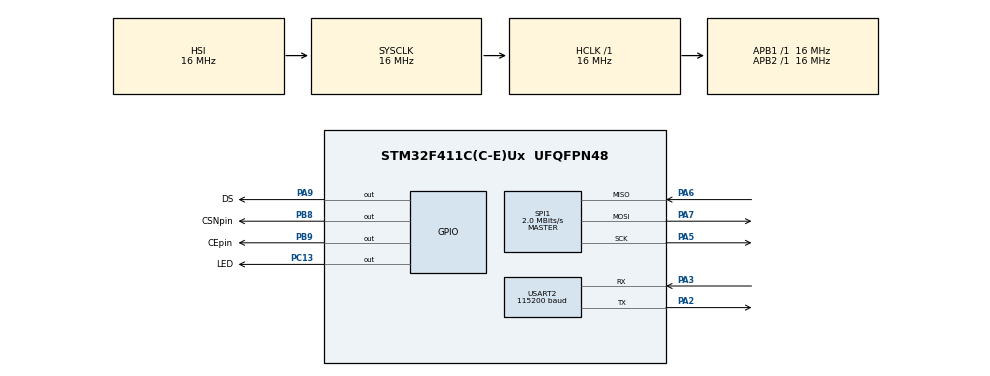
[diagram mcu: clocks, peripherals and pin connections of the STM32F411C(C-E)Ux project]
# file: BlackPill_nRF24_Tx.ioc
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Mcu.Family=STM32F4
Mcu.Name=STM32F411C(C-E)Ux
Mcu.Package=UFQFPN48
NVIC.PriorityGroup=NVIC_PRIORITYGROUP_4
NVIC.RTC_WKUP_IRQn=true\:0\:0\:false\:false\:true\:true\:true
PA2.Mode=Asynchronous
PA2.Signal=USART2_TX
PA3.Mode=Asynchronous
PA3.Signal=USART2_RX
PA5.Mode=Full_Duplex_Master
PA5.Signal=SPI1_SCK
PA6.Mode=Full_Duplex_Master
PA6.Signal=SPI1_MISO
PA7.Mode=Full_Duplex_Master
PA7.Signal=SPI1_MOSI
PA9.GPIO_Label=DS
PA9.GPIO_ModeDefaultOutputPP=GPIO_MODE_OUTPUT_OD
PA9.GPIO_PuPd=GPIO_PULLUP
PA9.PinState=GPIO_PIN_SET
PA9.Signal=GPIO_Output
PB8.GPIO_Label=CSNpin
PB8.Signal=GPIO_Output
PB9.GPIO_Label=CEpin
PB9.Signal=GPIO_Output
PC13-ANTI_TAMP.GPIO_Label=LED
PC13-ANTI_TAMP.Signal=GPIO_Output
ProjectManager.HeapSize=0x200
ProjectManager.StackSize=0x400
ProjectManager.TargetToolchain=STM32CubeIDE
RCC.AHBFreq_Value=16000000
RCC.APB1Freq_Value=16000000
RCC.APB1TimFreq_Value=16000000
RCC.APB2Freq_Value=16000000
RCC.APB2TimFreq_Value=16000000
RCC.CortexFreq_Value=16000000
RCC.HCLKFreq_Value=16000000
RCC.HSE_VALUE=25000000
RCC.HSI_VALUE=16000000
RCC.LSE_VALUE=32768
RCC.SYSCLKFreq_VALUE=16000000
RCC.VCOOutputFreq_Value=192000000
RTC.WakeUpClock=RTC_WAKEUPCLOCK_CK_SPRE_16BITS
RTC.WakeUpCounter=9
SPI1.BaudRatePrescaler=SPI_BAUDRATEPRESCALER_8
SPI1.CalculateBaudRate=2.0 MBits/s
SPI1.Direction=SPI_DIRECTION_2LINES
SPI1.Mode=SPI_MODE_MASTER
SPI1.VirtualType=VM_MASTER
TIM3.Prescaler=15
USART2.BaudRate=115200
USART2.VirtualMode=VM_ASYNC
VP_RTC_VS_RTC_Activate.Mode=RTC_Enabled
VP_RTC_VS_RTC_WakeUp_intern.Mode=WakeUp
VP_TIM3_VS_ClockSourceINT.Mode=Internal
board=custom

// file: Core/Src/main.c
/* USER CODE BEGIN Header */
/**
  ******************************************************************************
  * @file           : main.c
  * @brief          : Main program body
  ******************************************************************************
  * @attention
  *
  * <h2><center>&copy; Copyright (c) 2022 STMicroelectronics.
  * All rights reserved.</center></h2>
  *
  * This software component is licensed by ST under BSD 3-Clause license,
  * the "License"; You may not use this file except in compliance with the
  * License. You may obtain a copy of the License at:
  *                        opensource.org/licenses/BSD-3-Clause
  *
  ******************************************************************************
  */
/* USER CODE END Header */
#include "main.h"

/* USER CODE BEGIN Includes */
#include <stdio.h>

#include "NRF24.h"
/* USER CODE END Includes */

/* USER CODE BEGIN PD */
#define US_CLOCK_DELAY (1)
/* USER CODE END PD */

RTC_HandleTypeDef hrtc;

SPI_HandleTypeDef hspi1;

TIM_HandleTypeDef htim3;

UART_HandleTypeDef huart2;

void SystemClock_Config(void);
static void MX_GPIO_Init(void);
static void MX_SPI1_Init(void);
static void MX_USART2_UART_Init(void);
static void MX_TIM3_Init(void);
static void MX_RTC_Init(void);

/* USER CODE BEGIN 0 */
int __io_putchar(int ch)
{
  if (ch == '\n') {
    __io_putchar('\r');
  }
  HAL_UART_Transmit(&huart2, (uint8_t*)&ch, 1, HAL_MAX_DELAY);
  return 1;
}

void HAL_Delay(uint32_t Delay)
{
  uint32_t tickstart = HAL_GetTick();
  uint32_t wait = Delay;

  /* Add a period to guaranty minimum wait */
  if (wait < HAL_MAX_DELAY)
  {
    wait += (uint32_t)uwTickFreq;
  }

  while ((HAL_GetTick() - tickstart) < wait)
  {
	  __WFI();
  }
}

void blink_hello()
{
	// a few fast blinks to say hello
	for (int i = 0; i < 6; i++) {
		HAL_GPIO_TogglePin(LED_GPIO_Port, LED_Pin);
		HAL_Delay(50);
	}
	// be sure to turn off the LED
	HAL_GPIO_WritePin(LED_GPIO_Port, LED_Pin, GPIO_PIN_SET);
}

#define DS18B20_ROM_CODE_SIZE		8
#define DS18B20_SCRATCHPAD_SIZE    9
#define DS18B20_READ_ROM           0x33
#define DS18B20_MATCH_ROM          0x55
#define DS18B20_SKIP_ROM           0xCC
#define DS18B20_CONVERT_T          0x44
#define DS18B20_READ_SCRATCHPAD    0xBE
#define DS18B20_INVALID_TEMP       0x0550

typedef struct {
	int16_t temp;
	uint8_t address[DS18B20_ROM_CODE_SIZE];
} DS18B20Data_t;

void nrf24_setup_radio(size_t payloadSize)
{
	// --- NRF24 code
	const uint64_t txPipeAddress = 0x2109BC1971;

	// transmit with ACK
	NRF24_begin(CSNpin_GPIO_Port, CSNpin_Pin, CEpin_Pin, hspi1);
	nrf24_DebugUART_Init(huart2);
	NRF24_stopListening();
	NRF24_openWritingPipe(txPipeAddress);
	NRF24_setAutoAck(true);
	NRF24_setChannel(52);
	// NRF24_setPayloadSize(sizeof(ExchangeData_t));
	NRF24_setPayloadSize(payloadSize);
	printRadioSettings();
	printf("Tx ready\n");
}

// NOTE:
// Code to work with 1-wire and DS18B20 was taken from an excellent Forbot course on STM32L4:
//     https://forbot.pl/blog/kurs-stm32l4-termometry-ds18b20-1-wire-uart-id47771

#if US_CLOCK_DELAY
void delay_us(uint32_t us)
{
  // TODO: assert: 'us' must be smaller than 2^16, this is max counter period for 16-bit timers
  __HAL_TIM_SET_COUNTER(&htim3, 0);
  while ((__HAL_TIM_GET_COUNTER(&htim3)) < us) {  }
}
#else
static void set_baudrate(uint32_t baudrate)
{
  huart1.Instance = USART1;
  huart1.Init.BaudRate = baudrate;
  huart1.Init.WordLength = UART_WORDLENGTH_8B;
  huart1.Init.StopBits = UART_STOPBITS_1;
  huart1.Init.Parity = UART_PARITY_NONE;
  huart1.Init.Mode = UART_MODE_TX_RX;
  huart1.Init.HwFlowCtl = UART_HWCONTROL_NONE;
  huart1.Init.OverSampling = UART_OVERSAMPLING_16;
  if (HAL_UART_Init(&huart1) != HAL_OK)
  {
    Error_Handler();
  }
}
#endif

HAL_StatusTypeDef wire_reset(void)
{
#if US_CLOCK_DELAY
	  int rc;

	  HAL_GPIO_WritePin(DS_GPIO_Port, DS_Pin, GPIO_PIN_RESET);
	  delay_us(480);
	  HAL_GPIO_WritePin(DS_GPIO_Port, DS_Pin, GPIO_PIN_SET);
	  delay_us(70);
	  rc = HAL_GPIO_ReadPin(DS_GPIO_Port, DS_Pin);
	  delay_us(410);

	  if (rc == 0)
	    return HAL_OK;
	  else
	    return HAL_ERROR;
#else
  uint8_t data_out = 0xF0;
  uint8_t data_in = 0;

  set_baudrate(9600);
  HAL_UART_Transmit(&huart1, &data_out, 1, HAL_MAX_DELAY);
  HAL_UART_Receive(&huart1, &data_in, 1, HAL_MAX_DELAY);
  set_baudrate(115200);

  if (data_in != 0xF0)
    return HAL_OK;
  else
    return HAL_ERROR;
#endif
}

static void write_bit(int value)
{
#if US_CLOCK_DELAY
	  if (value) {
	    HAL_GPIO_WritePin(DS_GPIO_Port, DS_Pin, GPIO_PIN_RESET);
	    delay_us(6);
	    HAL_GPIO_WritePin(DS_GPIO_Port, DS_Pin, GPIO_PIN_SET);
	    delay_us(64);
	  } else {
	    HAL_GPIO_WritePin(DS_GPIO_Port, DS_Pin, GPIO_PIN_RESET);
	    delay_us(60);
	    HAL_GPIO_WritePin(DS_GPIO_Port, DS_Pin, GPIO_PIN_SET);
	    delay_us(10);
	  }
#else
  if (value) {
      uint8_t data_out = 0xff;
    HAL_UART_Transmit(&huart1, &data_out, 1, HAL_MAX_DELAY);
  } else {
      uint8_t data_out = 0x0;
    HAL_UART_Transmit(&huart1, &data_out, 1, HAL_MAX_DELAY);
  }
#endif
}

static int read_bit(void)
{
#if US_CLOCK_DELAY
	  int rc;
	  HAL_GPIO_WritePin(DS_GPIO_Port, DS_Pin, GPIO_PIN_RESET);
	  delay_us(6);
	  HAL_GPIO_WritePin(DS_GPIO_Port, DS_Pin, GPIO_PIN_SET);
	  delay_us(9);
	  rc = HAL_GPIO_ReadPin(DS_GPIO_Port, DS_Pin);
	  delay_us(55);
	  return rc;
#else
  uint8_t data_out = 0xFF;
  uint8_t data_in = 0;
  HAL_UART_Transmit(&huart1, &data_out, 1, HAL_MAX_DELAY);
  HAL_UART_Receive(&huart1, &data_in, 1, HAL_MAX_DELAY);
  return data_in & 0x01;
#endif
}

HAL_StatusTypeDef wire_init(void)
{
#if US_CLOCK_DELAY
  return HAL_TIM_Base_Start(&htim3);
#endif
}

uint8_t wire_read(void)
{
  uint8_t value = 0;
  int i;
  for (i = 0; i < 8; i++) {
    value >>= 1;
    if (read_bit())
      value |= 0x80;
  }
  return value;
}

void wire_read_buf(uint8_t * buf, int len)
{
    for (int i = 0; i < len; i++) {
      buf[i] = wire_read();
    }
}

void wire_write(uint8_t byte)
{
  int i;
  for (i = 0; i < 8; i++) {
    write_bit(byte & 0x01);
    byte >>= 1;
  }
}

static uint8_t byte_crc(uint8_t crc, uint8_t byte)
{
  int i;
  for (i = 0; i < 8; i++) {
    uint8_t b = crc ^ byte;
    crc >>= 1;
    if (b & 0x01)
      crc ^= 0x8c;
    byte >>= 1;
  }
  return crc;
}

uint8_t wire_crc(const uint8_t* data, int len)
{
  int i;
    uint8_t crc = 0;

    for (i = 0; i < len; i++)
      crc = byte_crc(crc, data[i]);

    return crc;
}

HAL_StatusTypeDef ds18b20_init(void)
{
  return wire_init();
}

HAL_StatusTypeDef ds18b20_read_address(uint8_t* rom_code)
{
  int i;
  uint8_t crc;

  if (wire_reset() != HAL_OK)
    return HAL_ERROR;

  wire_write(DS18B20_READ_ROM);

  for (i = 0; i < DS18B20_ROM_CODE_SIZE; i++)
    rom_code[i] = wire_read();

  crc = wire_crc(rom_code, DS18B20_ROM_CODE_SIZE - 1);
  if (rom_code[DS18B20_ROM_CODE_SIZE - 1] == crc)
    return HAL_OK;
  else
    return HAL_ERROR;
}

static HAL_StatusTypeDef send_cmd(const uint8_t* rom_code, uint8_t cmd)
{
  int i;

  if (wire_reset() != HAL_OK)
    return HAL_ERROR;

  if (!rom_code) {
    wire_write(DS18B20_SKIP_ROM);
  } else {
    wire_write(DS18B20_MATCH_ROM);
    for (i = 0; i < DS18B20_ROM_CODE_SIZE; i++)
      wire_write(rom_code[i]);
  }
  wire_write(cmd);
  return HAL_OK;
}

HAL_StatusTypeDef ds18b20_start_measure(const uint8_t* rom_code)
{
  return send_cmd(rom_code, DS18B20_CONVERT_T);
}

static HAL_StatusTypeDef ds18b20_read_scratchpad(const uint8_t* rom_code, uint8_t* scratchpad)
{
  int i;
  uint8_t crc;

  if (send_cmd(rom_code, DS18B20_READ_SCRATCHPAD) != HAL_OK)
    return HAL_ERROR;

  for (i = 0; i < DS18B20_SCRATCHPAD_SIZE; i++)
    scratchpad[i] = wire_read();

  crc = wire_crc(scratchpad, DS18B20_SCRATCHPAD_SIZE - 1);
  if (scratchpad[DS18B20_SCRATCHPAD_SIZE - 1] == crc)
    return HAL_OK;
  else
    return HAL_ERROR;
}

int16_t ds18b20_get_raw_temp(const uint8_t* rom_code)
{
  uint8_t scratchpad[DS18B20_SCRATCHPAD_SIZE];
  int16_t temp = DS18B20_INVALID_TEMP;
  if (ds18b20_read_scratchpad(rom_code, scratchpad) != HAL_OK)
    return temp;
  memcpy(&temp, &scratchpad[0], sizeof(temp));
  return temp;
}

void ds18b20_get_raw_temp_data(const uint8_t* addr, DS18B20Data_t * pData)
{
	if (pData) {
	  pData->temp = ds18b20_get_raw_temp(addr);
	  memcpy(&pData->address[0], &addr[0], DS18B20_ROM_CODE_SIZE);
	}
}

float ds18b20_get_temp(const uint8_t* rom_code)
{
    return ds18b20_get_raw_temp(rom_code) / 16.0f;
}

void measure_temp(DS18B20Data_t * pData1, DS18B20Data_t * pData2)
{
#if 0
	// get address of DS18B20
	if (ds18b20_init() != HAL_OK) {
		Error_Handler();
	}
	uint8_t ds1[DS18B20_ROM_CODE_SIZE];
	if (ds18b20_read_address(ds1) != HAL_OK) {
		Error_Handler();
	}
#endif

	if (ds18b20_init() != HAL_OK) {
		Error_Handler();
	}

	// R106D26:
	// const uint8_t ds1[] = { 0x28, 0xFF, 0xF2, 0xB5, 0x50, 0x16, 0x03, 0xA2 };
	// const uint8_t ds2[] = { 0x28, 0x21, 0x20, 0xD6, 0x07, 0x00, 0x00, 0x15 };
	// G3059:
	const uint8_t ds1[] = { 0x28, 0xFF, 0x87, 0xAF, 0x36, 0x16, 0x04, 0xC9 };
	const uint8_t ds2[] = { 0x28, 0xC4, 0x8C, 0xE9, 0x07, 0x00, 0x00, 0x17 };

	// TODO: dynamically detect DS sensors and their addresses
	// See: https://www.maximintegrated.com/en/design/technical-documents/app-notes/1/187.html

	ds18b20_start_measure(ds1);
	ds18b20_start_measure(ds2);
	HAL_Delay(750);

	if (pData1 != 0) {
		ds18b20_get_raw_temp_data(ds1, pData1);
		if (pData1->temp == DS18B20_INVALID_TEMP) {
			printf("Sensor error (1)...\n");
		} else {
			printf("T1 = %.1f*C\n", (pData1->temp / 16.0f));
		}
	}

	if (pData2 != 0) {
		ds18b20_get_raw_temp_data(ds2, pData2);
		if (pData2->temp == DS18B20_INVALID_TEMP) {
			printf("Sensor error (2)...\n");
		} else {
			printf("T2 = %.1f*C\n", (pData2->temp / 16.0f));
		}
	}
} // measure_temp()

void transmit_results(DS18B20Data_t * pData1, DS18B20Data_t * pData2)
{
	if (pData1 != 0 && NRF24_write(pData1, sizeof(DS18B20Data_t))) {
		printf("Tx 1 success\n");
	}

	// nRF24 needs time to process the first Rx before the second one can be reliably received, esp. with ACK enabled
	// add delay between Tx's, e.g. 50ms or 100ms, otherwise the second packet gets lost or Rx side sees garbage
	HAL_Delay(100);

	if (pData2 != 0 && NRF24_write(pData2, sizeof(DS18B20Data_t))) {
		printf("Tx 2 success\n");
	}
} // transmit_results()

void measure_and_transmit()
{
	DS18B20Data_t data1 = { .temp = DS18B20_INVALID_TEMP };
	DS18B20Data_t data2 = { .temp = DS18B20_INVALID_TEMP };

	nrf24_setup_radio(sizeof(DS18B20Data_t));
	measure_temp(& data1, & data2);
	transmit_results(& data1, & data2);
	NRF24_powerDown();

	// HAL_GPIO_TogglePin(LED_GPIO_Port, LED_Pin);
	HAL_GPIO_WritePin(LED_GPIO_Port, LED_Pin, GPIO_PIN_RESET);
	HAL_Delay(1);
	// HAL_GPIO_TogglePin(LED_GPIO_Port, LED_Pin);
	HAL_GPIO_WritePin(LED_GPIO_Port, LED_Pin, GPIO_PIN_SET);
	//HAL_Delay(50);
} // measure_and_transmit()

void enter_standby()
{
	// Enter the Standby mode
	__HAL_PWR_CLEAR_FLAG(PWR_FLAG_WU);
	__HAL_RTC_WAKEUPTIMER_CLEAR_FLAG(&hrtc, RTC_FLAG_WUTF);
	HAL_PWR_EnterSTANDBYMode();
	// not reached
}

/* USER CODE END 0 */

int main(void)
{

  /* MCU Configuration--------------------------------------------------------*/

  /* Reset of all peripherals, Initializes the Flash interface and the Systick. */
  HAL_Init();

  /* Configure the system clock */
  SystemClock_Config();

  /* Initialize all configured peripherals */
  MX_GPIO_Init();
  MX_SPI1_Init();
  MX_USART2_UART_Init();
  MX_TIM3_Init();
  MX_RTC_Init();
  /* USER CODE BEGIN 2 */

  // skip initial blink - save energy
  // blink_hello();
  HAL_GPIO_WritePin(LED_GPIO_Port, LED_Pin, GPIO_PIN_SET);
  measure_and_transmit();
  enter_standby();
  // not reached

  /* USER CODE END 2 */

  /* Infinite loop */
  while (1)
  {

  }
}

void SystemClock_Config(void)
{
  RCC_OscInitTypeDef RCC_OscInitStruct = {0};
  RCC_ClkInitTypeDef RCC_ClkInitStruct = {0};
  RCC_PeriphCLKInitTypeDef PeriphClkInitStruct = {0};

  /** Configure the main internal regulator output voltage
  */
  __HAL_RCC_PWR_CLK_ENABLE();
  __HAL_PWR_VOLTAGESCALING_CONFIG(PWR_REGULATOR_VOLTAGE_SCALE1);
  /** Initializes the RCC Oscillators according to the specified parameters
  * in the RCC_OscInitTypeDef structure.
  */
  RCC_OscInitStruct.OscillatorType = RCC_OSCILLATORTYPE_HSI|RCC_OSCILLATORTYPE_LSI;
  RCC_OscInitStruct.HSIState = RCC_HSI_ON;
  RCC_OscInitStruct.HSICalibrationValue = RCC_HSICALIBRATION_DEFAULT;
  RCC_OscInitStruct.LSIState = RCC_LSI_ON;
  RCC_OscInitStruct.PLL.PLLState = RCC_PLL_NONE;
  if (HAL_RCC_OscConfig(&RCC_OscInitStruct) != HAL_OK)
  {
    Error_Handler();
  }
  /** Initializes the CPU, AHB and APB buses clocks
  */
  RCC_ClkInitStruct.ClockType = RCC_CLOCKTYPE_HCLK|RCC_CLOCKTYPE_SYSCLK
                              |RCC_CLOCKTYPE_PCLK1|RCC_CLOCKTYPE_PCLK2;
  RCC_ClkInitStruct.SYSCLKSource = RCC_SYSCLKSOURCE_HSI;
  RCC_ClkInitStruct.AHBCLKDivider = RCC_SYSCLK_DIV1;
  RCC_ClkInitStruct.APB1CLKDivider = RCC_HCLK_DIV1;
  RCC_ClkInitStruct.APB2CLKDivider = RCC_HCLK_DIV1;

  if (HAL_RCC_ClockConfig(&RCC_ClkInitStruct, FLASH_LATENCY_0) != HAL_OK)
  {
    Error_Handler();
  }
  PeriphClkInitStruct.PeriphClockSelection = RCC_PERIPHCLK_RTC;
  PeriphClkInitStruct.RTCClockSelection = RCC_RTCCLKSOURCE_LSI;
  if (HAL_RCCEx_PeriphCLKConfig(&PeriphClkInitStruct) != HAL_OK)
  {
    Error_Handler();
  }
}

static void MX_RTC_Init(void)
{

  RTC_TimeTypeDef sTime = {0};
  RTC_DateTypeDef sDate = {0};

  /** Initialize RTC Only
  */
  hrtc.Instance = RTC;
  hrtc.Init.HourFormat = RTC_HOURFORMAT_24;
  hrtc.Init.AsynchPrediv = 127;
  hrtc.Init.SynchPrediv = 255;
  hrtc.Init.OutPut = RTC_OUTPUT_DISABLE;
  hrtc.Init.OutPutPolarity = RTC_OUTPUT_POLARITY_HIGH;
  hrtc.Init.OutPutType = RTC_OUTPUT_TYPE_OPENDRAIN;
  if (HAL_RTC_Init(&hrtc) != HAL_OK)
  {
    Error_Handler();
  }

  /** Initialize RTC and set the Time and Date
  */
  sTime.Hours = 0x0;
  sTime.Minutes = 0x0;
  sTime.Seconds = 0x0;
  sTime.DayLightSaving = RTC_DAYLIGHTSAVING_NONE;
  sTime.StoreOperation = RTC_STOREOPERATION_RESET;
  if (HAL_RTC_SetTime(&hrtc, &sTime, RTC_FORMAT_BCD) != HAL_OK)
  {
    Error_Handler();
  }
  sDate.WeekDay = RTC_WEEKDAY_MONDAY;
  sDate.Month = RTC_MONTH_JANUARY;
  sDate.Date = 0x1;
  sDate.Year = 0x0;

  if (HAL_RTC_SetDate(&hrtc, &sDate, RTC_FORMAT_BCD) != HAL_OK)
  {
    Error_Handler();
  }
  /** Enable the WakeUp
  */
  if (HAL_RTCEx_SetWakeUpTimer_IT(&hrtc, 9, RTC_WAKEUPCLOCK_CK_SPRE_16BITS) != HAL_OK)
  {
    Error_Handler();
  }

}

static void MX_SPI1_Init(void)
{

  /* SPI1 parameter configuration*/
  hspi1.Instance = SPI1;
  hspi1.Init.Mode = SPI_MODE_MASTER;
  hspi1.Init.Direction = SPI_DIRECTION_2LINES;
  hspi1.Init.DataSize = SPI_DATASIZE_8BIT;
  hspi1.Init.CLKPolarity = SPI_POLARITY_LOW;
  hspi1.Init.CLKPhase = SPI_PHASE_1EDGE;
  hspi1.Init.NSS = SPI_NSS_SOFT;
  hspi1.Init.BaudRatePrescaler = SPI_BAUDRATEPRESCALER_8;
  hspi1.Init.FirstBit = SPI_FIRSTBIT_MSB;
  hspi1.Init.TIMode = SPI_TIMODE_DISABLE;
  hspi1.Init.CRCCalculation = SPI_CRCCALCULATION_DISABLE;
  hspi1.Init.CRCPolynomial = 10;
  if (HAL_SPI_Init(&hspi1) != HAL_OK)
  {
    Error_Handler();
  }

}

static void MX_TIM3_Init(void)
{

  TIM_ClockConfigTypeDef sClockSourceConfig = {0};
  TIM_MasterConfigTypeDef sMasterConfig = {0};

  htim3.Instance = TIM3;
  htim3.Init.Prescaler = 15;
  htim3.Init.CounterMode = TIM_COUNTERMODE_UP;
  htim3.Init.Period = 65535;
  htim3.Init.ClockDivision = TIM_CLOCKDIVISION_DIV1;
  htim3.Init.AutoReloadPreload = TIM_AUTORELOAD_PRELOAD_DISABLE;
  if (HAL_TIM_Base_Init(&htim3) != HAL_OK)
  {
    Error_Handler();
  }
  sClockSourceConfig.ClockSource = TIM_CLOCKSOURCE_INTERNAL;
  if (HAL_TIM_ConfigClockSource(&htim3, &sClockSourceConfig) != HAL_OK)
  {
    Error_Handler();
  }
  sMasterConfig.MasterOutputTrigger = TIM_TRGO_RESET;
  sMasterConfig.MasterSlaveMode = TIM_MASTERSLAVEMODE_DISABLE;
  if (HAL_TIMEx_MasterConfigSynchronization(&htim3, &sMasterConfig) != HAL_OK)
  {
    Error_Handler();
  }

}

static void MX_USART2_UART_Init(void)
{

  huart2.Instance = USART2;
  huart2.Init.BaudRate = 115200;
  huart2.Init.WordLength = UART_WORDLENGTH_8B;
  huart2.Init.StopBits = UART_STOPBITS_1;
  huart2.Init.Parity = UART_PARITY_NONE;
  huart2.Init.Mode = UART_MODE_TX_RX;
  huart2.Init.HwFlowCtl = UART_HWCONTROL_NONE;
  huart2.Init.OverSampling = UART_OVERSAMPLING_16;
  if (HAL_UART_Init(&huart2) != HAL_OK)
  {
    Error_Handler();
  }

}

static void MX_GPIO_Init(void)
{
  GPIO_InitTypeDef GPIO_InitStruct = {0};

  /* GPIO Ports Clock Enable */
  __HAL_RCC_GPIOC_CLK_ENABLE();
  __HAL_RCC_GPIOA_CLK_ENABLE();
  __HAL_RCC_GPIOB_CLK_ENABLE();

  /*Configure GPIO pin Output Level */
  HAL_GPIO_WritePin(LED_GPIO_Port, LED_Pin, GPIO_PIN_RESET);

  /*Configure GPIO pin Output Level */
  HAL_GPIO_WritePin(DS_GPIO_Port, DS_Pin, GPIO_PIN_SET);

  /*Configure GPIO pin Output Level */
  HAL_GPIO_WritePin(GPIOB, CSNpin_Pin|CEpin_Pin, GPIO_PIN_RESET);

  /*Configure GPIO pin : LED_Pin */
  GPIO_InitStruct.Pin = LED_Pin;
  GPIO_InitStruct.Mode = GPIO_MODE_OUTPUT_PP;
  GPIO_InitStruct.Pull = GPIO_NOPULL;
  GPIO_InitStruct.Speed = GPIO_SPEED_FREQ_LOW;
  HAL_GPIO_Init(LED_GPIO_Port, &GPIO_InitStruct);

  /*Configure GPIO pin : DS_Pin */
  GPIO_InitStruct.Pin = DS_Pin;
  GPIO_InitStruct.Mode = GPIO_MODE_OUTPUT_OD;
  GPIO_InitStruct.Pull = GPIO_PULLUP;
  GPIO_InitStruct.Speed = GPIO_SPEED_FREQ_LOW;
  HAL_GPIO_Init(DS_GPIO_Port, &GPIO_InitStruct);

  /*Configure GPIO pins : CSNpin_Pin CEpin_Pin */
  GPIO_InitStruct.Pin = CSNpin_Pin|CEpin_Pin;
  GPIO_InitStruct.Mode = GPIO_MODE_OUTPUT_PP;
  GPIO_InitStruct.Pull = GPIO_NOPULL;
  GPIO_InitStruct.Speed = GPIO_SPEED_FREQ_LOW;
  HAL_GPIO_Init(GPIOB, &GPIO_InitStruct);

}

void Error_Handler(void)
{
  __disable_irq();
  while (1)
  {
  }
}

/************************ (C) COPYRIGHT STMicroelectronics *****END OF FILE****/
